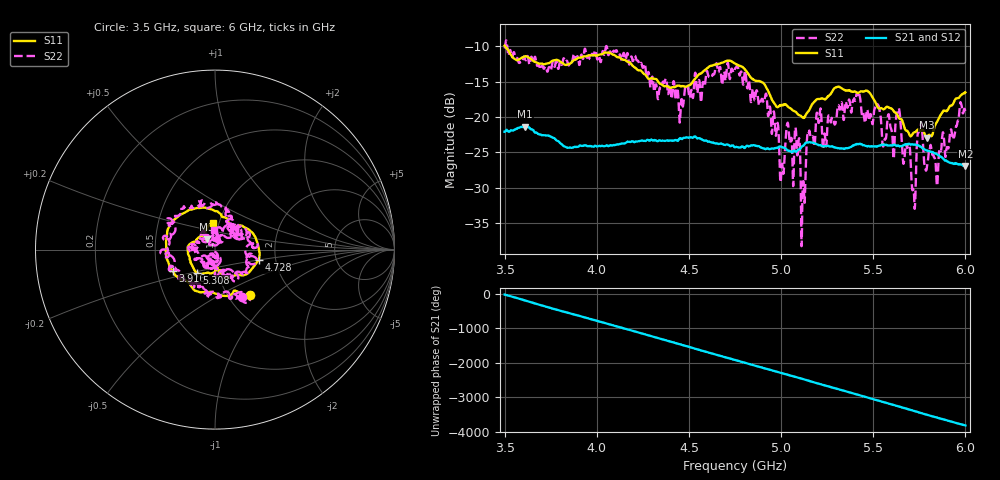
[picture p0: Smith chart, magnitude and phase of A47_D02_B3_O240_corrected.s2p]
! Created with skrf 1.9.0 (http://scikit-rf.org).
# Hz S RI R 50.0
!freq ReS11 ImS11 ReS21 ImS21 ReS12 ImS12 ReS22 ImS22
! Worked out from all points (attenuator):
!   1601 points, 3.5 GHz to 6 GHz, reference 50 ohm
!   highest |S21| = -21.37 dB at 3.611 GHz (marker M1); lowest = -26.9 dB at 6 GHz (marker M2)
!   lowest |S11| = -22.9 dB at 5.791 GHz (marker M3), VSWR 1.15, Z = 45.5 + j5.17 ohm
!   |S11| at or under -10 dB: 3.504 GHz to end of sweep
!   |S22| runs from -38.3 to -9.2 dB; largest |S21 - S12| = 0.00095
!   S11 on the Smith chart (normalised r, x): 3.5 GHz: 1.25, -0.71; 3.916 GHz: 0.60, -0.16; 4.728 GHz: 1.63, -0.20; 5.308 GHz: 0.79, -0.21; 6 GHz: 0.94, +0.29
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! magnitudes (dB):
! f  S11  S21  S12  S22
! 3.5 GHz  -9.9  -22.1  -22.1  -10.3
! 3.611 GHz  -11.4  -21.4  -21.4  -11.7
! 3.916 GHz  -11.6  -24.1  -24.1  -11.2
! 3.917 GHz  -11.6  -24.1  -24.1  -11.2
! 4.334 GHz  -15.1  -23.4  -23.3  -17.2
! 4.458 GHz  -15.6  -23.1  -23.0  -17.8
! 4.728 GHz  -12.1  -24.1  -24.0  -13.4
! 4.75 GHz  -12.4  -24.3  -24.2  -13.2
! 4.914 GHz  -15.5  -24.5  -24.5  -17.0
! 5.005 GHz  -18.3  -24.3  -24.3  -26.7
! 5.034 GHz  -18.5  -24.7  -24.6  -20.9
! 5.088 GHz  -19.5  -24.8  -24.8  -25.4
! 5.119 GHz  -20.1  -24.1  -24.0  -29.2
! 5.147 GHz  -19.2  -23.6  -23.6  -22.4
! 5.167 GHz  -18.3  -23.6  -23.6  -22.9
! 5.308 GHz  -15.7  -24.4  -24.3  -18.4
! 5.584 GHz  -18.7  -24.0  -24.0  -19.6
! 5.638 GHz  -20.1  -24.1  -24.0  -18.8
! 5.719 GHz  -22.2  -23.9  -23.8  -30.4
! 5.752 GHz  -21.9  -24.1  -24.1  -21.4
! 5.791 GHz  -22.9  -24.8  -24.7  -27.2
! 6 GHz  -16.5  -26.9  -26.9  -19.3
